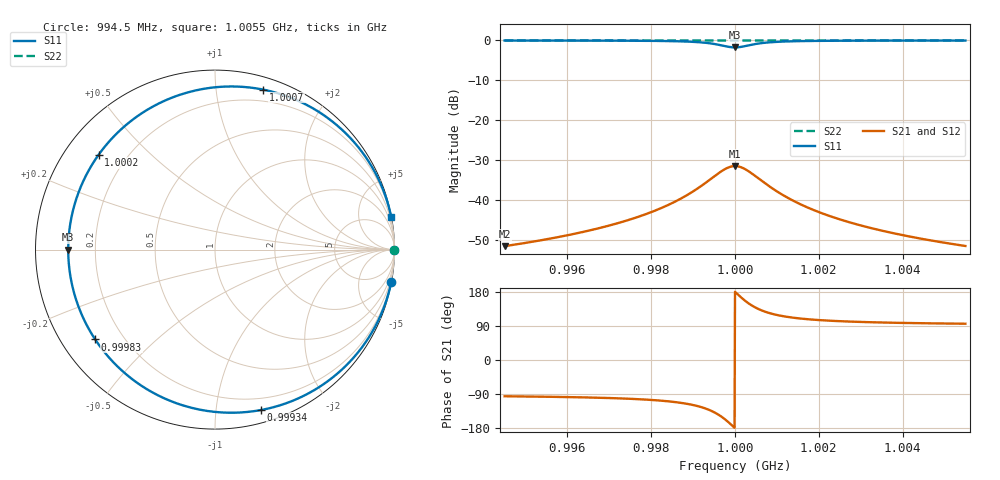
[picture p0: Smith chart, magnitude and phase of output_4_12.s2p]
! File generated for n1 = 4, n2 = 12
! b1 = 10.000000
! b2 = 0.002154
! Q0 = 10000.000000
! f0 = 1000000000.000000
! n = 1001
! rel_span = 10.000000
# Hz S RI R 50
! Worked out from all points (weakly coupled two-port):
!   1001 points, 994.5 MHz to 1.0055 GHz, reference 50 ohm
!   highest |S21| = -31.48 dB at 1 GHz (marker M1); lowest = -51.5 dB at 994.5 MHz (marker M2)
!   lowest |S11| = -1.7 dB at 1 GHz (marker M3), VSWR 9.98, Z = 5.01 + j0 ohm
!   |S11| at or under -10 dB: nowhere
!   |S22| runs from 0.0 to 0.0 dB; largest |S21 - S12| = 0
!   S11 on the Smith chart (normalised r, x): 994.5 MHz: 0, -11; 999.34 MHz: 0.10, -1.32; 999.83 MHz: 0.10, -0.33; 1.0002 GHz: 0.10, +0.35; 1.0007 GHz: 0.10, +1.34; 1.0055 GHz: 0, +11
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9.944989e8  0.9821 -0.1795  -0.000263 -0.00263  -0.000263 -0.00263  1 -3.87e-05
9.963363e8  0.9601 -0.2665  -0.000586 -0.00391  -0.000586 -0.00391  1 -5.74e-05
9.973815e8  0.9234 -0.3653  -0.00113 -0.00536  -0.00113 -0.00536  1 -7.87e-05
9.981736e8  0.8491 -0.5016  -0.00222 -0.00736  -0.00222 -0.00736  1 -0.000108
9.988778e8  0.6481 -0.7182  -0.00516 -0.0105  -0.00516 -0.0105  0.9999 -0.000155
9.991308e8  0.4804 -0.8213  -0.00763 -0.0121  -0.00763 -0.0121  0.9999 -0.000177
9.993399e8  0.2553 -0.894  -0.0109 -0.0131  -0.0109 -0.0131  0.9998 -0.000193
9.996149e8  -0.2199 -0.8541  -0.0179 -0.0125  -0.0179 -0.0125  0.9997 -0.000184
9.997249e8  -0.4542 -0.7272  -0.0213 -0.0107  -0.0213 -0.0107  0.9997 -0.000157
9.99835e8  -0.6677 -0.5004  -0.0245 -0.00734  -0.0245 -0.00734  0.9996 -0.000108
1e9  -0.8178 0  -0.0267 0  -0.0267 0  0.9996 0
1.000088e9  -0.7725 0.2836  -0.026 0.00416  -0.026 0.00416  0.9996 6.11e-05
1.000176e9  -0.649 0.5276  -0.0242 0.00774  -0.0242 0.00774  0.9996 0.000114
1.000275e9  -0.4543 0.7271  -0.0213 0.0107  -0.0213 0.0107  0.9997 0.000157
1.000385e9  -0.2202 0.854  -0.0179 0.0125  -0.0179 0.0125  0.9997 0.000184
1.000506e9  0.0152 0.9057  -0.0145 0.0133  -0.0145 0.0133  0.9998 0.000195
1.000671e9  0.2692 0.8913  -0.0107 0.0131  -0.0107 0.0131  0.9998 0.000192
1.00088e9  0.4891 0.8172  -0.0075 0.012  -0.0075 0.012  0.9999 0.000176
1.001133e9  0.653 0.7144  -0.00509 0.0105  -0.00509 0.0105  0.9999 0.000154
1.001837e9  0.8502 0.4999  -0.0022 0.00734  -0.0022 0.00734  1 0.000108
1.003675e9  0.96 0.2666  -0.000587 0.00391  -0.000587 0.00391  1 5.74e-05
1.005501e9  0.9819 0.1805  -0.000266 0.00265  -0.000266 0.00265  1 3.89e-05
